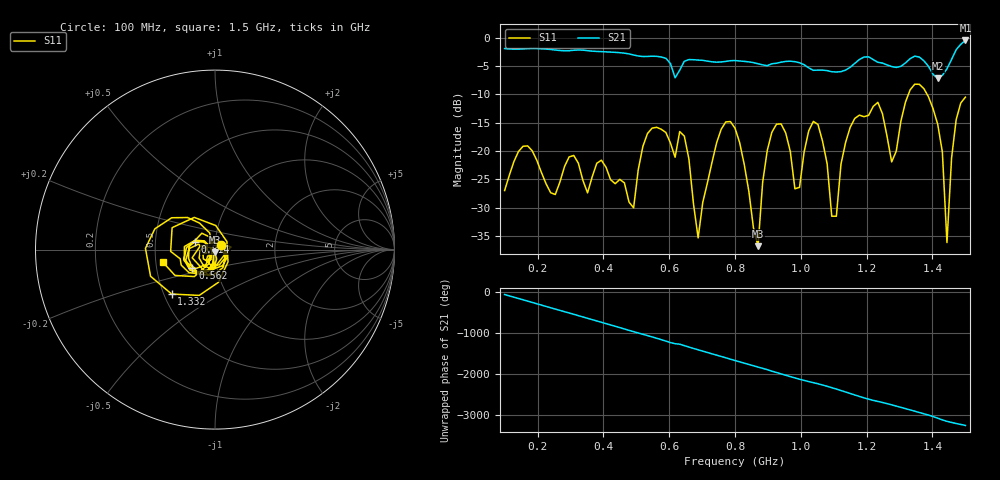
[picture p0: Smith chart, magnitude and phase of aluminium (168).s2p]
! NanoVNA-App
! Date: 2025-09-25 14:56:35
! Start: 100MHz Stop: 1,5GHz Points: 101
! S-Parameter data: F S11 S21 S12 S22
# Hz S RI R 50
!  Frequency  S11_Real  S11_Imag  S21_Real  S21_Imag  S12_Real  S12_Imag  S22_Real  S22_Imag
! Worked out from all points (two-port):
!   101 points, 100 MHz to 1.5 GHz, reference 50 ohm
!   highest |S21| = -0.49 dB at 1.5 GHz (marker M1); lowest = -7.2 dB at 1.416 GHz (marker M2)
!   |S21| within 3 dB of the highest: start of sweep to 580.8 MHz; 1.461 GHz to end of sweep (the widest 2 of 4)
!   lowest |S11| = -36.8 dB at 870 MHz (marker M3), VSWR 1.03, Z = 49.8 - j1.43 ohm
!   |S11| at or under -10 dB: start of sweep to 1.327 GHz; 1.384 GHz to end of sweep
!   S12 and S22 are empty: the file has one direction only
!   S11 on the Smith chart (normalised r, x): 100 MHz: 1.07, +0.06; 562 MHz: 0.76, -0.16; 814 MHz: 0.80, +0.07; 1.332 GHz: 0.55, -0.31; 1.5 GHz: 0.55, -0.08
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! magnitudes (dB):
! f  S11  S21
! 100 MHz  -27.0  -1.9
! 338 MHz  -25.2  -2.2
! 492 MHz  -30.0  -3.1
! 562 MHz  -15.8  -3.3
! 576 MHz  -16.2  -3.4
! 646 MHz  -17.4  -4.2
! 688 MHz  -35.4  -4.0
! 800 MHz  -16.0  -4.0
! 814 MHz  -18.5  -4.1
! 870 MHz  -36.8  -4.6
! 912 MHz  -16.7  -4.6
! 982 MHz  -26.7  -4.2
! 1.038 GHz  -14.8  -5.8
! 1.094 GHz  -31.5  -6.0
! 1.164 GHz  -14.3  -4.5
! 1.234 GHz  -11.4  -4.3
! 1.276 GHz  -21.9  -5.1
! 1.332 GHz  -9.2  -3.7
! 1.416 GHz  -15.3  -7.2
! 1.444 GHz  -36.2  -5.5
! 1.472 GHz  -14.5  -2.1
! 1.5 GHz  -10.5  -0.5
